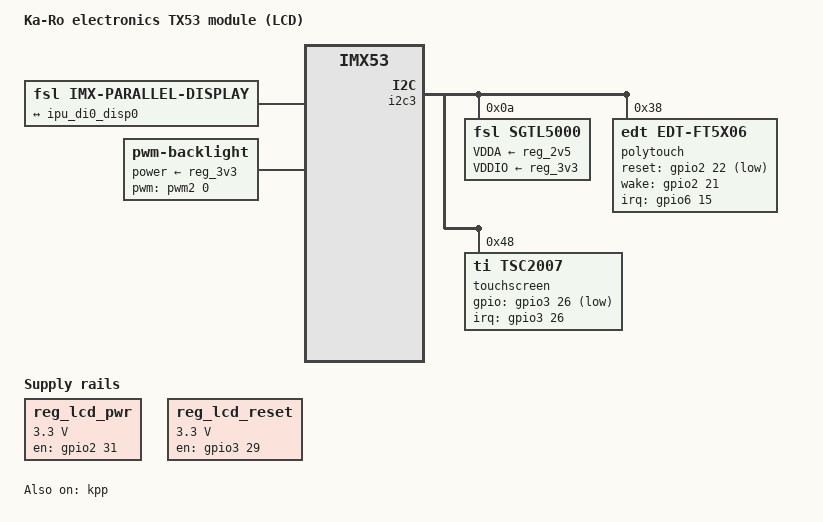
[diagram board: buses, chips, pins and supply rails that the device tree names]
/*
 * Copyright 2013 Lothar Waßmann <LW@KARO-electronics.de>
 *
 * The code contained herein is licensed under the GNU General Public
 * License. You may obtain a copy of the GNU General Public License
 * Version 2 at the following locations:
 *
 * http://www.opensource.org/licenses/gpl-license.html
 * http://www.gnu.org/copyleft/gpl.html
 */

/dts-v1/;
#include "imx53-tx53.dtsi"
#include <dt-bindings/input/input.h>
#include <dt-bindings/interrupt-controller/irq.h>
#include <dt-bindings/pwm/pwm.h>

/ {
	model = "Ka-Ro electronics TX53 module (LCD)";
	compatible = "karo,tx53", "fsl,imx53";

	aliases {
		display = &display;
	};

	soc {
		display: display@di0 {
			compatible = "fsl,imx-parallel-display";
			interface-pix-fmt = "rgb24";
			pinctrl-names = "default";
			pinctrl-0 = <&pinctrl_rgb24_vga1>;
			status = "okay";

			port {
				display0_in: endpoint {
					remote-endpoint = <&ipu_di0_disp0>;
				};
			};

			display-timings {
				VGA {
					clock-frequency = <25200000>;
					hactive = <640>;
					vactive = <480>;
					hback-porch = <48>;
					hsync-len = <96>;
					hfront-porch = <16>;
					vback-porch = <31>;
					vsync-len = <2>;
					vfront-porch = <12>;
					hsync-active = <0>;
					vsync-active = <0>;
					de-active = <1>;
					pixelclk-active = <0>;
				};

				ETV570 {
					clock-frequency = <25200000>;
					hactive = <640>;
					vactive = <480>;
					hback-porch = <114>;
					hsync-len = <30>;
					hfront-porch = <16>;
					vback-porch = <32>;
					vsync-len = <3>;
					vfront-porch = <10>;
					hsync-active = <0>;
					vsync-active = <0>;
					de-active = <1>;
					pixelclk-active = <0>;
				};

				ET0350 {
					clock-frequency = <6413760>;
					hactive = <320>;
					vactive = <240>;
					hback-porch = <34>;
					hsync-len = <34>;
					hfront-porch = <20>;
					vback-porch = <15>;
					vsync-len = <3>;
					vfront-porch = <4>;
					hsync-active = <0>;
					vsync-active = <0>;
					de-active = <1>;
					pixelclk-active = <0>;
				};

				ET0430 {
					clock-frequency = <9009000>;
					hactive = <480>;
					vactive = <272>;
					hback-porch = <2>;
					hsync-len = <41>;
					hfront-porch = <2>;
					vback-porch = <2>;
					vsync-len = <10>;
					vfront-porch = <2>;
					hsync-active = <0>;
					vsync-active = <0>;
					de-active = <1>;
					pixelclk-active = <1>;
				};

				ET0500 {
					clock-frequency = <33264000>;
					hactive = <800>;
					vactive = <480>;
					hback-porch = <88>;
					hsync-len = <128>;
					hfront-porch = <40>;
					vback-porch = <33>;
					vsync-len = <2>;
					vfront-porch = <10>;
					hsync-active = <0>;
					vsync-active = <0>;
					de-active = <1>;
					pixelclk-active = <0>;
				};

				ET0700 { /* same as ET0500 */
					clock-frequency = <33264000>;
					hactive = <800>;
					vactive = <480>;
					hback-porch = <88>;
					hsync-len = <128>;
					hfront-porch = <40>;
					vback-porch = <33>;
					vsync-len = <2>;
					vfront-porch = <10>;
					hsync-active = <0>;
					vsync-active = <0>;
					de-active = <1>;
					pixelclk-active = <0>;
				};

				ETQ570 {
					clock-frequency = <6596040>;
					hactive = <320>;
					vactive = <240>;
					hback-porch = <38>;
					hsync-len = <30>;
					hfront-porch = <30>;
					vback-porch = <16>;
					vsync-len = <3>;
					vfront-porch = <4>;
					hsync-active = <0>;
					vsync-active = <0>;
					de-active = <1>;
					pixelclk-active = <0>;
				};
			};
		};
	};

	backlight: backlight {
		compatible = "pwm-backlight";
		pwms = <&pwm2 0 500000 PWM_POLARITY_INVERTED>;
		power-supply = <&reg_3v3>;
		brightness-levels = <
			  0  1  2  3  4  5  6  7  8  9
			 10 11 12 13 14 15 16 17 18 19
			 20 21 22 23 24 25 26 27 28 29
			 30 31 32 33 34 35 36 37 38 39
			 40 41 42 43 44 45 46 47 48 49
			 50 51 52 53 54 55 56 57 58 59
			 60 61 62 63 64 65 66 67 68 69
			 70 71 72 73 74 75 76 77 78 79
			 80 81 82 83 84 85 86 87 88 89
			 90 91 92 93 94 95 96 97 98 99
			100
		>;
		default-brightness-level = <50>;
	};

	regulators {
		reg_lcd_pwr: regulator@5 {
			compatible = "regulator-fixed";
			reg = <5>;
			regulator-name = "LCD POWER";
			regulator-min-microvolt = <3300000>;
			regulator-max-microvolt = <3300000>;
			gpio = <&gpio2 31 GPIO_ACTIVE_HIGH>;
			enable-active-high;
			regulator-boot-on;
		};

		reg_lcd_reset: regulator@6 {
			compatible = "regulator-fixed";
			reg = <6>;
			regulator-name = "LCD RESET";
			regulator-min-microvolt = <3300000>;
			regulator-max-microvolt = <3300000>;
			gpio = <&gpio3 29 GPIO_ACTIVE_HIGH>;
			enable-active-high;
			regulator-boot-on;
		};
	};
};

&i2c3 {
	pinctrl-names = "default";
	pinctrl-0 = <&pinctrl_i2c3>;
	status = "okay";

	sgtl5000: codec@0a {
		compatible = "fsl,sgtl5000";
		reg = <0x0a>;
		VDDA-supply = <&reg_2v5>;
		VDDIO-supply = <&reg_3v3>;
		clocks = <&mclk>;
	};

	polytouch: edt-ft5x06@38 {
		compatible = "edt,edt-ft5x06";
		reg = <0x38>;
		pinctrl-names = "default";
		pinctrl-0 = <&pinctrl_edt_ft5x06_1>;
		interrupt-parent = <&gpio6>;
		interrupts = <15 IRQ_TYPE_EDGE_FALLING>;
		reset-gpios = <&gpio2 22 GPIO_ACTIVE_LOW>;
		wake-gpios = <&gpio2 21 GPIO_ACTIVE_HIGH>;
	};

	touchscreen: tsc2007@48 {
		compatible = "ti,tsc2007";
		reg = <0x48>;
		pinctrl-names = "default";
		pinctrl-0 = <&pinctrl_tsc2007>;
		interrupt-parent = <&gpio3>;
		interrupts = <26 0>;
		gpios = <&gpio3 26 GPIO_ACTIVE_LOW>;
		ti,x-plate-ohms = <660>;
		wakeup-source;
	};
};

&iomuxc {
	imx53-tx53-x03x {
		pinctrl_edt_ft5x06_1: edt-ft5x06grp-1 {
			fsl,pins = <
				MX53_PAD_NANDF_CS2__GPIO6_15 0x1f0 /* Interrupt */
				MX53_PAD_EIM_A16__GPIO2_22   0x04 /* Reset */
				MX53_PAD_EIM_A17__GPIO2_21   0x04 /* Wake */
			>;
		};

		pinctrl_kpp: kppgrp {
			fsl,pins = <
				MX53_PAD_GPIO_9__KPP_COL_6 0x1f4
				MX53_PAD_GPIO_4__KPP_COL_7 0x1f4
				MX53_PAD_KEY_COL2__KPP_COL_2 0x1f4
				MX53_PAD_KEY_COL3__KPP_COL_3 0x1f4
				MX53_PAD_GPIO_2__KPP_ROW_6 0x1f4
				MX53_PAD_GPIO_5__KPP_ROW_7 0x1f4
				MX53_PAD_KEY_ROW2__KPP_ROW_2 0x1f4
				MX53_PAD_KEY_ROW3__KPP_ROW_3 0x1f4
			>;
		};

		pinctrl_rgb24_vga1: rgb24-vgagrp1 {
			fsl,pins = <
				MX53_PAD_DI0_DISP_CLK__IPU_DI0_DISP_CLK		0x5
				MX53_PAD_DI0_PIN15__IPU_DI0_PIN15		0x5
				MX53_PAD_DI0_PIN2__IPU_DI0_PIN2			0x5
				MX53_PAD_DI0_PIN3__IPU_DI0_PIN3			0x5
				MX53_PAD_DISP0_DAT0__IPU_DISP0_DAT_0		0x5
				MX53_PAD_DISP0_DAT1__IPU_DISP0_DAT_1		0x5
				MX53_PAD_DISP0_DAT2__IPU_DISP0_DAT_2		0x5
				MX53_PAD_DISP0_DAT3__IPU_DISP0_DAT_3		0x5
				MX53_PAD_DISP0_DAT4__IPU_DISP0_DAT_4		0x5
				MX53_PAD_DISP0_DAT5__IPU_DISP0_DAT_5		0x5
				MX53_PAD_DISP0_DAT6__IPU_DISP0_DAT_6		0x5
				MX53_PAD_DISP0_DAT7__IPU_DISP0_DAT_7		0x5
				MX53_PAD_DISP0_DAT8__IPU_DISP0_DAT_8		0x5
				MX53_PAD_DISP0_DAT9__IPU_DISP0_DAT_9		0x5
				MX53_PAD_DISP0_DAT10__IPU_DISP0_DAT_10		0x5
				MX53_PAD_DISP0_DAT11__IPU_DISP0_DAT_11		0x5
				MX53_PAD_DISP0_DAT12__IPU_DISP0_DAT_12		0x5
				MX53_PAD_DISP0_DAT13__IPU_DISP0_DAT_13		0x5
				MX53_PAD_DISP0_DAT14__IPU_DISP0_DAT_14		0x5
				MX53_PAD_DISP0_DAT15__IPU_DISP0_DAT_15		0x5
				MX53_PAD_DISP0_DAT16__IPU_DISP0_DAT_16		0x5
				MX53_PAD_DISP0_DAT17__IPU_DISP0_DAT_17		0x5
				MX53_PAD_DISP0_DAT18__IPU_DISP0_DAT_18		0x5
				MX53_PAD_DISP0_DAT19__IPU_DISP0_DAT_19		0x5
				MX53_PAD_DISP0_DAT20__IPU_DISP0_DAT_20		0x5
				MX53_PAD_DISP0_DAT21__IPU_DISP0_DAT_21		0x5
				MX53_PAD_DISP0_DAT22__IPU_DISP0_DAT_22		0x5
				MX53_PAD_DISP0_DAT23__IPU_DISP0_DAT_23		0x5
			>;
		};

		pinctrl_tsc2007: tsc2007grp {
			fsl,pins = <
				MX53_PAD_EIM_D26__GPIO3_26 0x1f0 /* Interrupt */
			>;
		};
	};
};

&ipu_di0_disp0 {
	remote-endpoint = <&display0_in>;
};

&kpp {
	pinctrl-names = "default";
	pinctrl-0 = <&pinctrl_kpp>;
	/* sample keymap */
	/* row/col 0,1 are mapped to KPP row/col 6,7 */
	linux,keymap = <
		MATRIX_KEY(6, 6, KEY_POWER)
		MATRIX_KEY(6, 7, KEY_KP0)
		MATRIX_KEY(6, 2, KEY_KP1)
		MATRIX_KEY(6, 3, KEY_KP2)
		MATRIX_KEY(7, 6, KEY_KP3)
		MATRIX_KEY(7, 7, KEY_KP4)
		MATRIX_KEY(7, 2, KEY_KP5)
		MATRIX_KEY(7, 3, KEY_KP6)
		MATRIX_KEY(2, 6, KEY_KP7)
		MATRIX_KEY(2, 7, KEY_KP8)
		MATRIX_KEY(2, 2, KEY_KP9)
	>;
	status = "okay";
};
